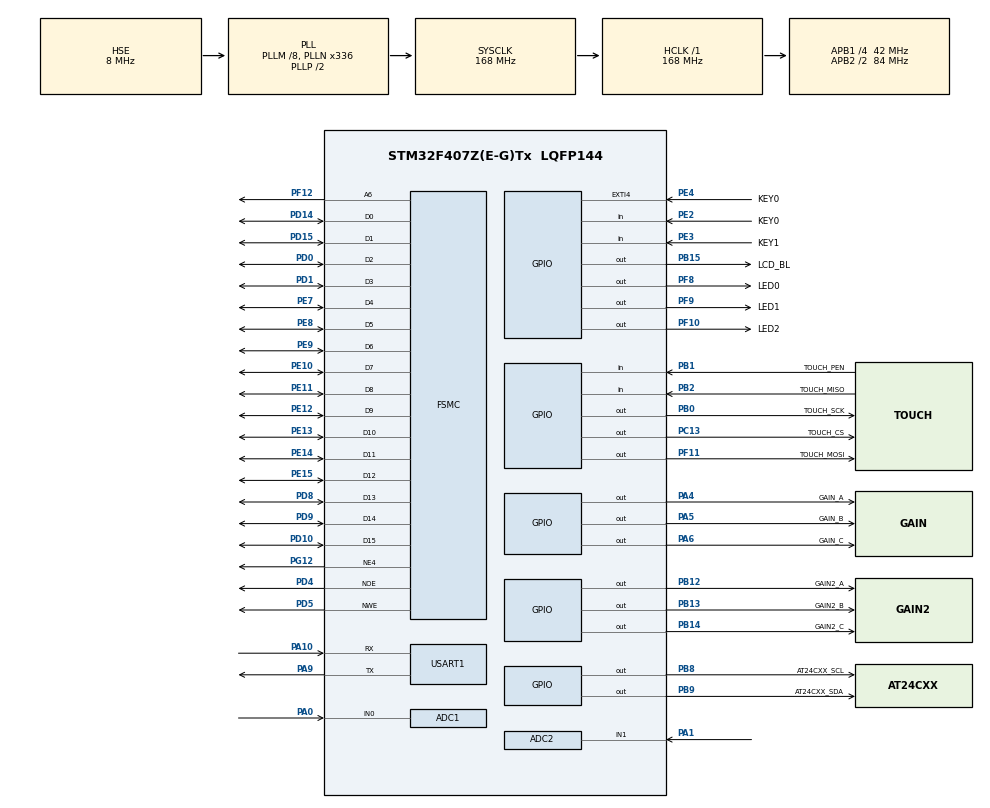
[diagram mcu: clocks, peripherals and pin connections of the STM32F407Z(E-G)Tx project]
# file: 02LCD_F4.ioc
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ADC1.Channel-0\#ChannelRegularConversion=ADC_CHANNEL_0
ADC1.ClockPrescaler=ADC_CLOCK_SYNC_PCLK_DIV6
ADC1.DMAContinuousRequests=ENABLE
ADC1.ExternalTrigConv=ADC_EXTERNALTRIGCONV_T8_TRGO
ADC1.Mode=ADC_DUALMODE_REGSIMULT
ADC1.NbrOfConversionFlag=1
ADC1.Rank-0\#ChannelRegularConversion=1
ADC1.SamplingTime-0\#ChannelRegularConversion=ADC_SAMPLETIME_15CYCLES
ADC1.ScanConvMode=ENABLE
ADC1.master=1
ADC2.Channel-0\#ChannelRegularConversion=ADC_CHANNEL_1
ADC2.ClockPrescaler=ADC_CLOCK_SYNC_PCLK_DIV6
ADC2.DMAAccessMode=ADC_DMAACCESSMODE_2
ADC2.Mode=ADC_DUALMODE_REGSIMULT
ADC2.NbrOfConversionFlag=1
ADC2.Rank-0\#ChannelRegularConversion=1
ADC2.SamplingTime-0\#ChannelRegularConversion=ADC_SAMPLETIME_15CYCLES
ADC2.ScanConvMode=ENABLE
Dma.ADC1.0.Direction=DMA_PERIPH_TO_MEMORY
Dma.ADC1.0.FIFOMode=DMA_FIFOMODE_DISABLE
Dma.ADC1.0.Instance=DMA2_Stream0
Dma.ADC1.0.MemDataAlignment=DMA_MDATAALIGN_WORD
Dma.ADC1.0.MemInc=DMA_MINC_ENABLE
Dma.ADC1.0.Mode=DMA_CIRCULAR
Dma.ADC1.0.PeriphDataAlignment=DMA_PDATAALIGN_WORD
Dma.ADC1.0.PeriphInc=DMA_PINC_DISABLE
Dma.ADC1.0.Priority=DMA_PRIORITY_HIGH
Dma.Request0=ADC1
FSMC.AddressSetupTime1=0x0f
FSMC.BusTurnAroundDuration1=0
FSMC.DataSetupTime1=24
FSMC.ExtendedAddressSetupTime1=9
FSMC.ExtendedBusTurnAroundDuration1=0
FSMC.ExtendedDataSetupTime1=8
FSMC.ExtendedMode1=FSMC_EXTENDED_MODE_ENABLE
Mcu.Family=STM32F4
Mcu.Name=STM32F407Z(E-G)Tx
Mcu.Package=LQFP144
NVIC.DMA2_Stream0_IRQn=true\:0\:0\:false\:false\:true\:false\:true\:true
NVIC.EXTI4_IRQn=true\:0\:0\:false\:false\:true\:true\:true\:true
NVIC.PriorityGroup=NVIC_PRIORITYGROUP_4
PA0-WKUP.Signal=ADCx_IN0
PA1.Signal=ADCx_IN1
PA10.Mode=Asynchronous
PA10.Signal=USART1_RX
PA13.Mode=Serial_Wire
PA13.Signal=SYS_JTMS-SWDIO
PA14.Mode=Serial_Wire
PA14.Signal=SYS_JTCK-SWCLK
PA4.GPIO_Label=GAIN_A
PA4.Signal=GPIO_Output
PA5.GPIO_Label=GAIN_B
PA5.Signal=GPIO_Output
PA6.GPIO_Label=GAIN_C
PA6.Signal=GPIO_Output
PA9.Mode=Asynchronous
PA9.Signal=USART1_TX
PB0.GPIO_Label=TOUCH_SCK
PB0.GPIO_PuPd=GPIO_PULLUP
PB0.GPIO_Speed=GPIO_SPEED_FREQ_VERY_HIGH
PB0.Signal=GPIO_Output
PB1.GPIO_Label=TOUCH_PEN
PB1.GPIO_Mode=GPIO_MODE_INPUT
PB1.GPIO_PuPd=GPIO_PULLUP
PB1.Signal=GPIO_Input
PB12.GPIO_Label=GAIN2_A
PB12.Signal=GPIO_Output
PB13.GPIO_Label=GAIN2_B
PB13.Signal=GPIO_Output
PB14.GPIO_Label=GAIN2_C
PB14.Signal=GPIO_Output
PB15.GPIO_Label=LCD_BL
PB15.GPIO_PuPd=GPIO_PULLUP
PB15.GPIO_Speed=GPIO_SPEED_FREQ_MEDIUM
PB15.Signal=GPIO_Output
PB2.GPIO_Label=TOUCH_MISO
PB2.GPIO_PuPd=GPIO_PULLUP
PB2.Signal=GPIO_Input
PB8.GPIO_Label=AT24CXX_SCL
PB8.GPIO_PuPd=GPIO_PULLUP
PB8.GPIO_Speed=GPIO_SPEED_FREQ_VERY_HIGH
PB8.Signal=GPIO_Output
PB9.GPIO_Label=AT24CXX_SDA
PB9.GPIO_PuPd=GPIO_PULLUP
PB9.GPIO_Speed=GPIO_SPEED_FREQ_VERY_HIGH
PB9.Signal=GPIO_Output
PC13-ANTI_TAMP.GPIO_Label=TOUCH_CS
PC13-ANTI_TAMP.Signal=GPIO_Output
PD0.GPIO_PuPd=GPIO_PULLUP
PD0.Signal=FSMC_D2_DA2
PD1.GPIO_PuPd=GPIO_PULLUP
PD1.Signal=FSMC_D3_DA3
PD10.GPIO_PuPd=GPIO_PULLUP
PD10.Signal=FSMC_D15_DA15
PD14.GPIO_PuPd=GPIO_PULLUP
PD14.Signal=FSMC_D0_DA0
PD15.GPIO_PuPd=GPIO_PULLUP
PD15.Signal=FSMC_D1_DA1
PD4.GPIO_PuPd=GPIO_PULLUP
PD4.Signal=FSMC_NOE
PD5.GPIO_PuPd=GPIO_PULLUP
PD5.Signal=FSMC_NWE
PD8.GPIO_PuPd=GPIO_PULLUP
PD8.Signal=FSMC_D13_DA13
PD9.GPIO_PuPd=GPIO_PULLUP
PD9.Signal=FSMC_D14_DA14
PE10.GPIO_PuPd=GPIO_PULLUP
PE10.Signal=FSMC_D7_DA7
PE11.GPIO_PuPd=GPIO_PULLUP
PE11.Signal=FSMC_D8_DA8
PE12.GPIO_PuPd=GPIO_PULLUP
PE12.Signal=FSMC_D9_DA9
PE13.GPIO_PuPd=GPIO_PULLUP
PE13.Signal=FSMC_D10_DA10
PE14.GPIO_PuPd=GPIO_PULLUP
PE14.Signal=FSMC_D11_DA11
PE15.GPIO_PuPd=GPIO_PULLUP
PE15.Signal=FSMC_D12_DA12
PE2.GPIO_Label=KEY0
PE2.GPIO_PuPd=GPIO_PULLUP
PE2.Signal=GPIO_Input
PE3.GPIO_Label=KEY1
PE3.GPIO_PuPd=GPIO_PULLUP
PE3.Signal=GPIO_Input
PE4.GPIO_Label=KEY0
PE4.GPIO_ModeDefaultEXTI=GPIO_MODE_IT_FALLING
PE4.GPIO_PuPd=GPIO_PULLUP
PE4.Signal=GPXTI4
PE7.GPIO_PuPd=GPIO_PULLUP
PE7.Signal=FSMC_D4_DA4
PE8.GPIO_PuPd=GPIO_PULLUP
PE8.Signal=FSMC_D5_DA5
PE9.GPIO_PuPd=GPIO_PULLUP
PE9.Signal=FSMC_D6_DA6
PF10.GPIO_Label=LED2
PF10.GPIO_ModeDefaultOutputPP=GPIO_MODE_OUTPUT_PP
PF10.GPIO_PuPd=GPIO_PULLUP
PF10.GPIO_Speed=GPIO_SPEED_FREQ_VERY_HIGH
PF10.PinState=GPIO_PIN_SET
PF10.Signal=GPIO_Output
PF11.GPIO_Label=TOUCH_MOSI
PF11.GPIO_Speed=GPIO_SPEED_FREQ_VERY_HIGH
PF11.Signal=GPIO_Output
PF12.GPIO_PuPd=GPIO_PULLUP
PF12.Signal=FSMC_A6
PF8.GPIO_Label=LED0
PF8.GPIO_ModeDefaultOutputPP=GPIO_MODE_OUTPUT_PP
PF8.GPIO_PuPd=GPIO_PULLUP
PF8.GPIO_Speed=GPIO_SPEED_FREQ_VERY_HIGH
PF8.PinState=GPIO_PIN_SET
PF8.Signal=GPIO_Output
PF9.GPIO_Label=LED1
PF9.GPIO_ModeDefaultOutputPP=GPIO_MODE_OUTPUT_PP
PF9.GPIO_PuPd=GPIO_PULLUP
PF9.GPIO_Speed=GPIO_SPEED_FREQ_VERY_HIGH
PF9.PinState=GPIO_PIN_SET
PF9.Signal=GPIO_Output
PG12.GPIO_PuPd=GPIO_PULLUP
PG12.Mode=NorPsramChipSelect4_1
PG12.Signal=FSMC_NE4
PH0-OSC_IN.Mode=HSE-External-Oscillator
PH0-OSC_IN.Signal=RCC_OSC_IN
PH1-OSC_OUT.Mode=HSE-External-Oscillator
PH1-OSC_OUT.Signal=RCC_OSC_OUT
ProjectManager.HeapSize=0x200
ProjectManager.StackSize=0x400
ProjectManager.TargetToolchain=MDK-ARM V5.32
RCC.48MHZClocksFreq_Value=84000000
RCC.AHBFreq_Value=168000000
RCC.APB1CLKDivider=RCC_HCLK_DIV4
RCC.APB1Freq_Value=42000000
RCC.APB1TimFreq_Value=84000000
RCC.APB2CLKDivider=RCC_HCLK_DIV2
RCC.APB2Freq_Value=84000000
RCC.APB2TimFreq_Value=168000000
RCC.CortexFreq_Value=168000000
RCC.HCLKFreq_Value=168000000
RCC.HSE_VALUE=8000000
RCC.HSI_VALUE=16000000
RCC.LSE_VALUE=32768
RCC.PLLM=8
RCC.PLLN=336
RCC.PLLSourceVirtual=RCC_PLLSOURCE_HSE
RCC.SYSCLKFreq_VALUE=168000000
RCC.SYSCLKSource=RCC_SYSCLKSOURCE_PLLCLK
RCC.VCOOutputFreq_Value=336000000
SH.ADCx_IN0.0=ADC1_IN0,IN0
SH.ADCx_IN1.0=ADC2_IN1,IN1
SH.FSMC_A6.0=FSMC_A6,A6_1
SH.FSMC_D0_DA0.0=FSMC_D0,16b-d1
SH.FSMC_D10_DA10.0=FSMC_D10,16b-d1
SH.FSMC_D11_DA11.0=FSMC_D11,16b-d1
SH.FSMC_D12_DA12.0=FSMC_D12,16b-d1
SH.FSMC_D13_DA13.0=FSMC_D13,16b-d1
SH.FSMC_D14_DA14.0=FSMC_D14,16b-d1
SH.FSMC_D15_DA15.0=FSMC_D15,16b-d1
SH.FSMC_D1_DA1.0=FSMC_D1,16b-d1
SH.FSMC_D2_DA2.0=FSMC_D2,16b-d1
SH.FSMC_D3_DA3.0=FSMC_D3,16b-d1
SH.FSMC_D4_DA4.0=FSMC_D4,16b-d1
SH.FSMC_D5_DA5.0=FSMC_D5,16b-d1
SH.FSMC_D6_DA6.0=FSMC_D6,16b-d1
SH.FSMC_D7_DA7.0=FSMC_D7,16b-d1
SH.FSMC_D8_DA8.0=FSMC_D8,16b-d1
SH.FSMC_D9_DA9.0=FSMC_D9,16b-d1
SH.FSMC_NOE.0=FSMC_NOE,Lcd1
SH.FSMC_NWE.0=FSMC_NWE,Lcd1
TIM8.Period=16799
TIM8.TIM_MasterOutputTrigger=TIM_TRGO_UPDATE
USART1.VirtualMode=VM_ASYNC
VP_TIM8_VS_ClockSourceINT.Mode=Internal
board=custom

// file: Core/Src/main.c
/* USER CODE BEGIN Header */
/**
  ******************************************************************************
  * @file           : main.c
  * @brief          : Main program body
  ******************************************************************************
  */
/* USER CODE END Header */
#include "main.h"
#include "adc.h"
#include "dma.h"
#include "tim.h"
#include "usart.h"
#include "gpio.h"

/* USER CODE BEGIN Includes */
#include <stdio.h>
#include <string.h>
#include <math.h>
/* 大彩串口屏 HMI 驱动（触摸人机交互） */
#include "hmi_driver.h"
#include "hmi_user_uart.h"
#include "cmd_queue.h"
#include "cmd_process.h"
#include "hmi_text.h"
/* USER CODE END Includes */

/* USER CODE BEGIN PD */
#define ADC_BUF_SIZE   8192
#define DRAW_POINTS    400      /* 8div × 50点/div = 400，满足任务书水平分辨率要求 */
#define SAMPLE_RATE    10000.0f
#define AVG_N          5
#define MUTATION_TH    0.08f

#define MODE_TRIG      0
#define MODE_VERT      1
#define MODE_HORI      2
#define MODE_CH_SEL    3   /* ������ͨ��ѡ��ģʽ */
/* USER CODE END PD */

/* USER CODE BEGIN PV */
uint32_t adc_dma_buf[ADC_BUF_SIZE];
extern DMA_HandleTypeDef hdma_adc1;

volatile uint8_t dma_ready = 0;
volatile uint8_t key0_pressed = 0;

float ch1_v[ADC_BUF_SIZE];
float ch2_v[ADC_BUF_SIZE];

float freq_buf1[AVG_N], freq_buf2[AVG_N];
float vpp_buf1[AVG_N],  vpp_buf2[AVG_N];
float avg_buf1[AVG_N],  avg_buf2[AVG_N];
uint8_t avg_idx = 0;
uint8_t avg_cnt = 0;

float last_f1_displayed = 0;
float last_f2_displayed = 0;

float   trig_level_ratio = 0.5f;
uint8_t trig_edge = 0;

const float v_div_table[3] = {0.01f, 0.1f, 1.0f};
uint8_t v_div_idx1 = 1;  // CH1 ������λ
uint8_t v_div_idx2 = 1;  // CH2 ������λ

const float t_div_table[3] = {0.001f, 0.01f, 0.1f};
uint8_t t_div_idx = 0;

float last_vpp1 = 0, last_f1 = 0;
float last_vpp2 = 0, last_f2 = 0;

uint8_t current_mode = MODE_TRIG;
uint8_t trig_state = 0;

uint8_t active_ch = 1; // ��ǰ����ͨ����1=CH1, 2=CH2

float last_phase = 0;
uint8_t phase_init = 0;

	//PA4 9 A PA5 10 B  PA6 11 C
	//PB12 9 A PB13 10 B  PB14 11 C
/* ===== 模拟前端参数 =====
 * ADC 参考电压（VDDA）：所有电压换算都以它为基准
 * 前端直流偏置：ADC 收到的是「信号 + 偏置」，必须减掉才是真实电压
 *   +5V--10k--+--10k--GND  -> 2.5V     （当前电路图）
 *   +5V--20k--+--10k--GND  -> 1.667V   （推荐：留给正半周的余量更大）
 * 注意：偏置越靠近 3.3V，正半周可用摆幅越小；2.5V 时只剩 0.8V 余量 */
#define ADC_VREF      3.3f
#define ADC_BIAS_V    2.5f

/* 增益标定表 [通道][档位]，通道 0=CH1 1=CH2，档位 0=10mV/div 1=100mV/div 2=1V/div
 * 理论值 40 / 4 / 1（Rf = 390k / 30k / 0 欧，Rg = 10k）
 * CD4051 导通电阻串在反馈回路里，×1 档实际增益会偏大 2%~4%，务必实测后填这里
 * 标定方法：输入已知峰峰值的正弦（如 1kHz、1.000Vpp），切到该档位读屏上「峰峰值」Vmeas，
 *           则 新值 = 当前值 × Vmeas / Vtrue */
const float gain_cal[2][3] = {
    {40.0f, 4.0f, 1.0f},   /* CH1 */
    {40.0f, 4.0f, 1.0f},   /* CH2 */
};

/* ===== 串口屏 HMI =====
 * 屏端画面/控件 ID 约定（以 VisualTFT 工程 Screen0.tft 为准）：
 *   画面 0：主界面
 *   曲线控件：GRAPH1(ID=1) 单控件双通道
 *             通道0 = CH1 波形（黄），通道1 = CH2 波形（品红）
 *             采样点数 400、采样深度 2 Bytes、显示范围 0~32767
 *   文本控件：3=CH1频率 4=CH1峰峰值 5=CH1平均值
 *             6=CH2频率 7=CH2峰峰值 8=CH2平均值
 *             9=相位差 10=波形类型 11=模式/通道 12=档位/边沿
 *   按钮控件：13=模式切换 14=通道选择 15=CH1档位+ 16=CH1档位-
 *             17=CH2档位+ 18=CH2档位- 19=时基+ 20=时基-
 *             21=触发边沿 22=触发电平+ 23=触发电平- 24=AUTOSCALE
 */
#define HMI_SCREEN      0
#define HMI_GRAPH       1   /* 唯一的曲线控件 ID */
#define HMI_GRAPH_CH1   0   /* 曲线控件内的通道号：CH1 */
#define HMI_GRAPH_CH2   1   /* 曲线控件内的通道号：CH2 */
#define HMI_TXT_F1      3
#define HMI_TXT_VPP1    4
#define HMI_TXT_AVG1    5
#define HMI_TXT_F2      6
#define HMI_TXT_VPP2    7
#define HMI_TXT_AVG2    8
#define HMI_TXT_PHASE   9
#define HMI_TXT_WAVE    10
#define HMI_TXT_MODE    11
#define HMI_TXT_DIV     12

uint8_t cmd_buffer[CMD_MAX_SIZE];              /* 串口屏指令接收缓存 */
uint8_t hmi_wave_buf[DRAW_POINTS * 2];         /* 曲线数据缓存（16bit，高字节在前，共 480 字节） */
/* USER CODE END PV */

void SystemClock_Config(void);

/* USER CODE BEGIN 0 */

int fputc(int ch, FILE *f)
{
    HAL_UART_Transmit(&huart1, (uint8_t *)&ch, 1, 0xFFFF);
    return ch;
}

/* �л� CD4051 ����ͨ����ch=1��2, gain_idx=0,1,2 */
/* �л� CD4051 ����ͨ����ch=1��2, gain_idx=0,1,2 */
void SetGain(uint8_t ch, uint8_t gain_idx)
{
    if (ch == 1) // CH1 ���� PA4(A), PA5(B), PA6(C)
    {
        if (gain_idx == 0) // 10mV����8����ͨ��0 (A=0, B=0, C=0)
        {
            HAL_GPIO_WritePin(GPIOA, GPIO_PIN_4, GPIO_PIN_RESET);
            HAL_GPIO_WritePin(GPIOA, GPIO_PIN_5, GPIO_PIN_RESET);
            HAL_GPIO_WritePin(GPIOA, GPIO_PIN_6, GPIO_PIN_RESET);
        }
        else if (gain_idx == 1) // 100mV����4����ͨ��1 (A=0, B=0, C=1)
        {
            HAL_GPIO_WritePin(GPIOA, GPIO_PIN_4, GPIO_PIN_RESET);
            HAL_GPIO_WritePin(GPIOA, GPIO_PIN_5, GPIO_PIN_RESET);
            HAL_GPIO_WritePin(GPIOA, GPIO_PIN_6, GPIO_PIN_SET);
        }
        else // 1V����1����ͨ��2 (A=0, B=1, C=0)
        {
            HAL_GPIO_WritePin(GPIOA, GPIO_PIN_4, GPIO_PIN_RESET);
            HAL_GPIO_WritePin(GPIOA, GPIO_PIN_5, GPIO_PIN_SET);
            HAL_GPIO_WritePin(GPIOA, GPIO_PIN_6, GPIO_PIN_RESET);
        }
    }
    else if (ch == 2) // CH2 ���� PB12(A), PB13(B), PB14(C)
    {
        if (gain_idx == 0) // 10mV����8����ͨ��0
        {
            HAL_GPIO_WritePin(GPIOB, GPIO_PIN_12, GPIO_PIN_RESET);
            HAL_GPIO_WritePin(GPIOB, GPIO_PIN_13, GPIO_PIN_RESET);
            HAL_GPIO_WritePin(GPIOB, GPIO_PIN_14, GPIO_PIN_RESET);
        }
        else if (gain_idx == 1) // 100mV����4����ͨ��1 (C=1)
        {
            HAL_GPIO_WritePin(GPIOB, GPIO_PIN_12, GPIO_PIN_RESET);
            HAL_GPIO_WritePin(GPIOB, GPIO_PIN_13, GPIO_PIN_RESET);
            HAL_GPIO_WritePin(GPIOB, GPIO_PIN_14, GPIO_PIN_SET);
        }
        else // 1V����1����ͨ��2 (B=1)
        {
            HAL_GPIO_WritePin(GPIOB, GPIO_PIN_12, GPIO_PIN_RESET);
            HAL_GPIO_WritePin(GPIOB, GPIO_PIN_13, GPIO_PIN_SET);
            HAL_GPIO_WritePin(GPIOB, GPIO_PIN_14, GPIO_PIN_RESET);
        }
    }
}

uint16_t FindTrigger(float *data, float max, float min, float ratio, uint8_t edge)
{
    int i;
    float level = min + (max - min) * ratio;
    for(i = 1; i < ADC_BUF_SIZE; i++)
    {
        if(edge == 0) { if(data[i-1] < level && data[i] >= level) return i; }
        else { if(data[i-1] > level && data[i] <= level) return i; }
    }
    return 0;
}

void CalcParams(float *data, float *vpp, float *avg, float *freq)
{
    int i;
    float max = data[0], min = data[0];
    double sum = 0;

    for(i = 0; i < ADC_BUF_SIZE; i++)
    {
        if(data[i] > max) max = data[i];
        if(data[i] < min) min = data[i];
        sum += data[i];
    }
    *vpp = max - min;
    *avg = (float)(sum / ADC_BUF_SIZE);

    float mid = (max + min) / 2.0f;
    float hyst = (max - min) * 0.15f;
    float up_th = mid + hyst;
    float dn_th = mid - hyst;

    uint16_t edges[128];
    int edge_cnt = 0;
    uint8_t state = 0;

    for(i = 0; i < ADC_BUF_SIZE; i++)
    {
        if(state == 0 && data[i] > up_th) { if(edge_cnt < 128) edges[edge_cnt++] = (uint16_t)i; state = 1; }
        else if(state == 1 && data[i] < dn_th) { state = 0; }
    }

    if(edge_cnt >= 2)
    {
        float avg_period = (float)(edges[edge_cnt - 1] - edges[0]) / (edge_cnt - 1);
        *freq = SAMPLE_RATE / avg_period;
    }
    else *freq = 0;
}

float FindFirstRisingEdgeInterp(float *data, float max, float min)
{
    float level = (max + min) / 2.0f;
    int i;
    for(i = 1; i < ADC_BUF_SIZE; i++)
    {
        if(data[i-1] < level && data[i] >= level)
        {
            float d1 = level - data[i-1];
            float d2 = data[i] - data[i-1];
            if(d2 > 0.0001f) return (float)(i - 1) + d1 / d2;
            return (float)i;
        }
    }
    return -1.0f;
}

float CalcPhaseDiff(float *ch1, float *ch2, float max1, float min1, float max2, float min2, float freq)
{
    float e1 = FindFirstRisingEdgeInterp(ch1, max1, min1);
    float e2 = FindFirstRisingEdgeInterp(ch2, max2, min2);
    if(e1 < 0 || e2 < 0) return -999.0f;

    float diff = e1 - e2;
    if(diff >  ADC_BUF_SIZE / 2.0f) diff -= ADC_BUF_SIZE;
    if(diff < -ADC_BUF_SIZE / 2.0f) diff += ADC_BUF_SIZE;

    float dt = diff / SAMPLE_RATE;
    float phase = dt * freq * 360.0f;
    while(phase >  180.0f) phase -= 360.0f;
    while(phase < -180.0f) phase += 360.0f;
    return phase;
}

float CalcHighRatio(float *data, float max, float min)
{
    float high_th = (max + min) / 2.0f + (max - min) * 0.4f;
    int high_cnt = 0;
    for(int i = 0; i < ADC_BUF_SIZE; i++) { if(data[i] > high_th) high_cnt++; }
    return (float)high_cnt / ADC_BUF_SIZE;
}

/* 波形识别：用「峰均比（crest factor）」区分，比高电平占比法可靠得多
 *   峰均比 = 峰值 / 有效值(交流)
 *   方波   ≈ 1.00     （峰值=有效值）
 *   正弦波 ≈ 1.414    （峰值 = 有效值 × √2）
 *   三角波 ≈ 1.732    （峰值 = 有效值 × √3）
 * 阈值取两两中间值：方波/正弦 1.20，正弦/三角 1.58 */
static const char* IdentifyWave(float *data, float max, float min)
{
    int i;
    double sum = 0.0, sq = 0.0;
    float  avg, rms, peak, crest;

    for(i = 0; i < ADC_BUF_SIZE; i++) sum += data[i];
    avg = (float)(sum / ADC_BUF_SIZE);

    for(i = 0; i < ADC_BUF_SIZE; i++)
    {
        double d = (double)data[i] - (double)avg;
        sq += d * d;
    }
    rms = (float)sqrt(sq / ADC_BUF_SIZE);

    if(rms < 1e-5f) return HT_NONE;                  /* 无信号 */

    peak  = (max - min) * 0.5f;
    crest = peak / rms;

    if(crest < 1.20f) return HT_SQUARE;              /* 方波 */
    if(crest < 1.58f) return HT_SINE;                /* 正弦波 */
    return HT_TRI;                                   /* 三角波 */
}

/* AUTOSCALE：根据当前信号自动选档
 *  - 两通道使用同一垂直档位（保证波形比例一致、便于比较）
 *  - 触发电平自动置于信号中点 50%
 *  - 频率无效时保持原时基不动
 */
void AutoScaleAll(void)
{
    float vpp  = (last_vpp1 > last_vpp2) ? last_vpp1 : last_vpp2;   /* 取较大者，防止任一路超屏 */
    float freq = (last_f1 > 1.0f) ? last_f1 : last_f2;
    uint8_t idx;

    /* 垂直档位：让波形占约 4.5 格 */
    if(vpp > 0.002f)
    {
        float v_div_target = vpp / 4.5f;
        if(v_div_target <= 0.01f)     idx = 0;    /* 10mV/div  */
        else if(v_div_target <= 0.1f) idx = 1;    /* 100mV/div */
        else                          idx = 2;    /* 1V/div    */

        v_div_idx1 = idx;
        v_div_idx2 = idx;
        SetGain(1, idx);
        SetGain(2, idx);
    }

    /* 水平时基：让屏幕显示约 4 个周期 */
    if(freq >= 10.0f && freq <= 1100.0f)
    {
        float t_div_target = 4.0f / (8.0f * freq);
        if(t_div_target <= 0.001f)      t_div_idx = 0;   /* 1ms/div   */
        else if(t_div_target <= 0.01f)  t_div_idx = 1;   /* 10ms/div  */
        else                            t_div_idx = 2;   /* 100ms/div */
    }

    /* 触发电平自动置于信号中点，保证稳定触发 */
    trig_level_ratio = 0.5f;
}

void HAL_GPIO_EXTI_Callback(uint16_t GPIO_Pin)
{
    if(GPIO_Pin == KEY0E4_Pin) key0_pressed = 1;
}

/* ===================== 串口屏 HMI 触摸交互 ===================== */

/* 从源数据中取第 i 个显示点：
 *   show_len <= 240 时用线性插值（上采样，消除阶梯感）
 *   show_len >  240 时用区间平均（下采样，抑制 ADC 噪声与混叠） */
static float HMI_SampleAt(float *data, uint16_t start, int show_len, int i)
{
    if(show_len <= DRAW_POINTS)
    {
        int span = (show_len > 1) ? (show_len - 1) : 1;
        float pos = (float)i * (float)span / (float)(DRAW_POINTS - 1);
        int   k   = (int)pos;
        float fr  = pos - (float)k;
        uint16_t i1 = (uint16_t)((start + k)     % ADC_BUF_SIZE);
        uint16_t i2 = (uint16_t)((start + k + 1) % ADC_BUF_SIZE);
        return data[i1] * (1.0f - fr) + data[i2] * fr;
    }
    else
    {
        int a = (int)((float)i       * (float)show_len / (float)DRAW_POINTS);
        int b = (int)((float)(i + 1) * (float)show_len / (float)DRAW_POINTS);
        int k, n = 0;
        float sum = 0.0f;
        if(b <= a) b = a + 1;
        if(b > show_len) b = show_len;
        for(k = a; k < b; k++)
        {
            sum += data[(uint16_t)((start + k) % ADC_BUF_SIZE)];
            n++;
        }
        return (n > 0) ? (sum / (float)n) : 0.0f;
    }
}

/* 曲线数据上限（屏端「曲线顶部值」需与此一致） */
#define HMI_WAVE_MAX   32767.0f

/* 把 CH1/CH2 波形定点化后发送到串口屏曲线控件
 * 屏端配置：单控件双通道、采样深度 2 Bytes、显示范围 0~32767
 * 数据格式：每个采样点 2 字节，高字节在前
 * 减去直流偏置让波形居中，并按实际峰峰值自适应缩放，让波形铺满曲线区 */
static void HMI_UpdateWave(uint16_t trig, int show_len,
                           float avg1, float avg2, float vpp1, float vpp2)
{
    int i;
    /* 按峰峰值缩放，留 25% 边距；信号太小时给个最小量程防止噪声放大 */
    float scale1 = (vpp1 > 0.01f) ? (vpp1 * 1.25f) : 0.5f;
    float scale2 = (vpp2 > 0.01f) ? (vpp2 * 1.25f) : 0.5f;

    /* CH1 -> 曲线控件通道0 */
    GraphChannelDataClear(HMI_SCREEN, HMI_GRAPH, HMI_GRAPH_CH1);
    for(i = 0; i < DRAW_POINTS; i++)
    {
        float px = ((HMI_SampleAt(ch1_v, trig, show_len, i) - avg1) / scale1 + 0.5f) * HMI_WAVE_MAX;
        if(px < 0.0f) px = 0.0f;
        if(px > HMI_WAVE_MAX) px = HMI_WAVE_MAX;
        hmi_wave_buf[2 * i]     = (uint8_t)(((uint16_t)px) >> 8);   /* 高字节 */
        hmi_wave_buf[2 * i + 1] = (uint8_t)(((uint16_t)px) & 0xFF); /* 低字节 */
    }
    GraphChannelDataAdd(HMI_SCREEN, HMI_GRAPH, HMI_GRAPH_CH1, hmi_wave_buf, DRAW_POINTS * 2);

    /* CH2 -> 曲线控件通道1 */
    GraphChannelDataClear(HMI_SCREEN, HMI_GRAPH, HMI_GRAPH_CH2);
    for(i = 0; i < DRAW_POINTS; i++)
    {
        float px = ((HMI_SampleAt(ch2_v, trig, show_len, i) - avg2) / scale2 + 0.5f) * HMI_WAVE_MAX;
        if(px < 0.0f) px = 0.0f;
        if(px > HMI_WAVE_MAX) px = HMI_WAVE_MAX;
        hmi_wave_buf[2 * i]     = (uint8_t)(((uint16_t)px) >> 8);   /* 高字节 */
        hmi_wave_buf[2 * i + 1] = (uint8_t)(((uint16_t)px) & 0xFF); /* 低字节 */
    }
    GraphChannelDataAdd(HMI_SCREEN, HMI_GRAPH, HMI_GRAPH_CH2, hmi_wave_buf, DRAW_POINTS * 2);
}

/* 更新串口屏上的模式/通道/档位状态文本 */
static void HMI_UpdateStatus(void)
{
    char buf[64];
    const char *mode_name = HT_TRIG;
    const char *edge_name = HT_RISE;
    const char *div_name[3] = {"10mV", "100mV", "1V"};
    const char *tdiv_name[3] = {"1ms", "10ms", "100ms"};

    if(current_mode == MODE_VERT) mode_name = HT_VERT;
    else if(current_mode == MODE_HORI) mode_name = HT_HORI;
    else if(current_mode == MODE_CH_SEL) mode_name = HT_CHSEL;
    if(trig_edge == 1) edge_name = HT_FALL;

    /* 模式 + 当前通道 + 触发边沿，如「触发 通道1 上升」 */
    sprintf(buf, "%s %s %s", mode_name, (active_ch == 1) ? HT_CH1 : HT_CH2, edge_name);
    SetTextValue(HMI_SCREEN, HMI_TXT_MODE, (uchar *)buf);

    /* 垂直档位与时基：两通道同档时合并显示，避免超出控件宽度被截断
     *   同档： "100mV 1ms"
     *   不同： "100mV/1V 1ms" */
    if(v_div_idx1 == v_div_idx2)
        sprintf(buf, "%s %s", div_name[v_div_idx1], tdiv_name[t_div_idx]);
    else
        sprintf(buf, "%s/%s %s", div_name[v_div_idx1], div_name[v_div_idx2], tdiv_name[t_div_idx]);
    SetTextValue(HMI_SCREEN, HMI_TXT_DIV, (uchar *)buf);
}

/* 更新串口屏上的测量参数文本 */
static void HMI_UpdateText(float f1, float vpp1, float avg1,
                           float f2, float vpp2, float avg2,
                           float phase, const char *wave_type)
{
    char buf[64];

    sprintf(buf, HT_FREQ "%.0fHz", f1);
    SetTextValue(HMI_SCREEN, HMI_TXT_F1, (uchar *)buf);
    sprintf(buf, HT_VPP "%.3fV", vpp1);
    SetTextValue(HMI_SCREEN, HMI_TXT_VPP1, (uchar *)buf);
    sprintf(buf, HT_AVG "%.3fV", avg1);
    SetTextValue(HMI_SCREEN, HMI_TXT_AVG1, (uchar *)buf);

    sprintf(buf, HT_FREQ "%.0fHz", f2);
    SetTextValue(HMI_SCREEN, HMI_TXT_F2, (uchar *)buf);
    sprintf(buf, HT_VPP "%.3fV", vpp2);
    SetTextValue(HMI_SCREEN, HMI_TXT_VPP2, (uchar *)buf);
    sprintf(buf, HT_AVG "%.3fV", avg2);
    SetTextValue(HMI_SCREEN, HMI_TXT_AVG2, (uchar *)buf);

    if(phase > -900.0f) sprintf(buf, HT_PHASE "%+.1f", phase);
    else                sprintf(buf, HT_PHASE HT_NONE);
    SetTextValue(HMI_SCREEN, HMI_TXT_PHASE, (uchar *)buf);

    sprintf(buf, HT_WAVE "%s", wave_type);
    SetTextValue(HMI_SCREEN, HMI_TXT_WAVE, (uchar *)buf);

    HMI_UpdateStatus();
}

/* 串口屏指令处理入口（在主循环中轮询调用） */
static void HMI_Process(void)
{
    qsize size = queue_find_cmd(cmd_buffer, CMD_MAX_SIZE);
    if(size > 0)
    {
        ProcessMessage((PCTRL_MSG)cmd_buffer, size);
    }
}

/* 消息分发：把串口屏上传的指令转换为业务回调 */
void ProcessMessage(PCTRL_MSG msg, uint16 size)
{
    uint8  cmd_type     = msg->cmd_type;
    uint8  ctrl_msg     = msg->ctrl_msg;
    uint8  control_type = msg->control_type;
    uint16 screen_id    = PTR2U16(&msg->screen_id);
    uint16 control_id   = PTR2U16(&msg->control_id);

    switch(cmd_type)
    {
    case NOTIFY_TOUCH_PRESS:                                    /* 触摸按下 */
    case NOTIFY_TOUCH_RELEASE:                                  /* 触摸松开 */
        NotifyTouchXY(cmd_buffer[1], PTR2U16(cmd_buffer + 2), PTR2U16(cmd_buffer + 4));
        break;

    case NOTIFY_CONTROL:                                        /* 控件事件 */
        if(ctrl_msg == MSG_GET_CURRENT_SCREEN)                  /* 画面切换通知 */
        {
            NotifyScreen(screen_id);
        }
        else
        {
            switch(control_type)
            {
            case kCtrlButton:                                   /* 按钮 */
                NotifyButton(screen_id, control_id, msg->param[1]);
                break;
            case kCtrlText:                                     /* 文本（键盘输入回传） */
                NotifyText(screen_id, control_id, msg->param);
                break;
            default:
                break;
            }
        }
        break;

    default:
        break;
    }
}

/* 画面切换通知 */
void NotifyScreen(uint16 screen_id)
{
    /* 进入主界面时，清空两条曲线通道 */
    if(screen_id == HMI_SCREEN)
    {
        GraphChannelDataClear(HMI_SCREEN, HMI_GRAPH, HMI_GRAPH_CH1);
        GraphChannelDataClear(HMI_SCREEN, HMI_GRAPH, HMI_GRAPH_CH2);
    }
}

/* 触摸坐标事件（预留） */
void NotifyTouchXY(uint8 press, uint16 x, uint16 y)
{
}

/* 按钮控件通知：实现功能切换（与原按键逻辑一致） */
void NotifyButton(uint16 screen_id, uint16 control_id, uint8 state)
{
    if(state == 0) return;                                      /* 只响应按下 */

    switch(control_id)
    {
    case 13:                                                    /* 模式切换 */
        current_mode = (current_mode + 1) % 4;
        break;
    case 14:                                                    /* 通道选择 */
        active_ch = (active_ch == 1) ? 2 : 1;
        break;
    case 15:                                                    /* CH1 垂直档位+ */
        if(v_div_idx1 < 2) { v_div_idx1++; SetGain(1, v_div_idx1); }
        break;
    case 16:                                                    /* CH1 垂直档位- */
        if(v_div_idx1 > 0) { v_div_idx1--; SetGain(1, v_div_idx1); }
        break;
    case 17:                                                    /* CH2 垂直档位+ */
        if(v_div_idx2 < 2) { v_div_idx2++; SetGain(2, v_div_idx2); }
        break;
    case 18:                                                    /* CH2 垂直档位- */
        if(v_div_idx2 > 0) { v_div_idx2--; SetGain(2, v_div_idx2); }
        break;
    case 19:                                                    /* 水平时基+ */
        if(t_div_idx < 2) t_div_idx++;
        break;
    case 20:                                                    /* 水平时基- */
        if(t_div_idx > 0) t_div_idx--;
        break;
    case 21:                                                    /* 触发边沿切换 */
        trig_edge = (trig_edge == 0) ? 1 : 0;
        break;
    case 22:                                                    /* 触发电平+ */
        if(trig_level_ratio < 0.95f) trig_level_ratio += 0.1f;
        break;
    case 23:                                                    /* 触发电平- */
        if(trig_level_ratio > 0.05f) trig_level_ratio -= 0.1f;
        break;
    case 24:                                                    /* AUTOSCALE */
        AutoScaleAll();
        break;
    default:
        break;
    }

    HMI_UpdateStatus();                                         /* 立即刷新状态文本 */
}

/* 文本控件通知（键盘输入回传，预留） */
void NotifyText(uint16 screen_id, uint16 control_id, uint8 *str)
{
}

/* USER CODE END 0 */

int main(void)
{
  HAL_Init();
  SystemClock_Config();

  MX_GPIO_Init();
  MX_DMA_Init();
  MX_ADC1_Init();
  MX_ADC2_Init();
  MX_TIM8_Init();
  MX_USART1_UART_Init();
  /* USER CODE BEGIN 2 */

  {
      GPIO_InitTypeDef gpio_init = {0};
      gpio_init.Pin  = GPIO_PIN_4;
      gpio_init.Mode = GPIO_MODE_IT_FALLING;
      gpio_init.Pull = GPIO_PULLUP;
      HAL_GPIO_Init(GPIOE, &gpio_init);
      HAL_NVIC_SetPriority(EXTI4_IRQn, 5, 0);
      HAL_NVIC_EnableIRQ(EXTI4_IRQn);
  }

  /* ��ʼ��Ӳ������ */
  SetGain(1, v_div_idx1);
  SetGain(2, v_div_idx2);

  HAL_NVIC_SetPriority(DMA2_Stream0_IRQn, 0, 0);
  HAL_NVIC_EnableIRQ(DMA2_Stream0_IRQn);

  HAL_TIM_Base_Start(&htim8);
  __HAL_ADC_ENABLE(&hadc1);
  __HAL_ADC_ENABLE(&hadc2);

  DMA2_Stream0->CR = 0;
  DMA2->LIFCR = 0x3F;
  DMA2_Stream0->PAR  = (uint32_t)&ADC->CDR;
  DMA2_Stream0->M0AR = (uint32_t)adc_dma_buf;
  DMA2_Stream0->NDTR = ADC_BUF_SIZE;
  DMA2_Stream0->CR = (0  << 25) | (2 << 16) | (2 << 13) | (2 << 11)
                   | (1  << 10) | (0 <<  9) | (1 <<  8) | (0 <<  6)
                   | (1  <<  4) | (1 <<  0);

  ADC1->SR &= ~ADC_SR_OVR;
  ADC2->SR &= ~ADC_SR_OVR;
  ADC1->CR2 |= ADC_CR2_DMA;

  HAL_ADC_Start(&hadc1);
  HAL_ADC_Start(&hadc2);

  /* ===== 串口屏 HMI 初始化（USART1 = RXD0/TXD0） ===== */
  queue_reset();
  UartInit(115200);
  HAL_Delay(300);   /* 等待串口屏上电初始化完毕 */
  /* USER CODE END 2 */

  /* Infinite loop */
  while (1)
  {
    /* ===== 串口屏触摸指令处理 ===== */
    HMI_Process();

    /* KEY0��ѭ���л�ģʽ��4��ģʽ�� */
    if(key0_pressed)
    {
        key0_pressed = 0;
        HAL_Delay(20);
        if(HAL_GPIO_ReadPin(GPIOE, GPIO_PIN_4) == GPIO_PIN_RESET)
        {
            current_mode = (current_mode + 1) % 4;
            while(HAL_GPIO_ReadPin(GPIOE, GPIO_PIN_4) == GPIO_PIN_RESET);
        }
    }

    /* KEY1���޸ĵ�ǰģʽ��ֵ */
    {
        static uint8_t key1_last = 1;
        uint8_t key1_now = HAL_GPIO_ReadPin(GPIOE, GPIO_PIN_3);

        if(key1_last == 1 && key1_now == 0)
        {
            HAL_Delay(20);
            if(HAL_GPIO_ReadPin(GPIOE, GPIO_PIN_3) == GPIO_PIN_RESET)
            {
                if(current_mode == MODE_TRIG)
                {
                    trig_state = (trig_state + 1) % 8;
                    switch(trig_state)
                    {
                        case 0: trig_edge = 0; trig_level_ratio = 0.2f; break;
                        case 1: trig_edge = 0; trig_level_ratio = 0.4f; break;
                        case 2: trig_edge = 0; trig_level_ratio = 0.6f; break;
                        case 3: trig_edge = 0; trig_level_ratio = 0.8f; break;
                        case 4: trig_edge = 1; trig_level_ratio = 0.2f; break;
                        case 5: trig_edge = 1; trig_level_ratio = 0.4f; break;
                        case 6: trig_edge = 1; trig_level_ratio = 0.6f; break;
                        case 7: trig_edge = 1; trig_level_ratio = 0.8f; break;
                    }
                }
                else if(current_mode == MODE_VERT)
                {
                    if(active_ch == 1) { v_div_idx1 = (v_div_idx1 + 1) % 3; SetGain(1, v_div_idx1); }
                    else { v_div_idx2 = (v_div_idx2 + 1) % 3; SetGain(2, v_div_idx2); }
                }
                else if(current_mode == MODE_HORI)
                {
                    t_div_idx = (t_div_idx + 1) % 3;
                }
                else if(current_mode == MODE_CH_SEL)
                {
                    active_ch = (active_ch == 1) ? 2 : 1;
                }
                while(HAL_GPIO_ReadPin(GPIOE, GPIO_PIN_3) == GPIO_PIN_RESET);
            }
        }
        key1_last = key1_now;
    }

    /* KEY2����Ե�ǰѡ��ͨ������ AUTOSCALE */
    {
        static uint8_t key2_last = 1;
        uint8_t key2_now = HAL_GPIO_ReadPin(GPIOE, GPIO_PIN_2);

        if(key2_last == 1 && key2_now == 0)
        {
            HAL_Delay(20);
            if(HAL_GPIO_ReadPin(GPIOE, GPIO_PIN_2) == GPIO_PIN_RESET)
            {
                AutoScaleAll();
                while(HAL_GPIO_ReadPin(GPIOE, GPIO_PIN_2) == GPIO_PIN_RESET);
            }
        }
        key2_last = key2_now;
    }

    /* ����ˢ�� */
    if(dma_ready)
    {
        dma_ready = 0;

        float g_cur1 = gain_cal[0][v_div_idx1];
        float g_cur2 = gain_cal[1][v_div_idx2];

        for(int i = 0; i < ADC_BUF_SIZE; i++)
        {
            ch1_v[i] = ((adc_dma_buf[i] & 0xFFFF) / 4095.0f * ADC_VREF - ADC_BIAS_V) / g_cur1;
            ch2_v[i] = ((adc_dma_buf[i] >> 16)     / 4095.0f * ADC_VREF - ADC_BIAS_V) / g_cur2;
        }

        float max1 = ch1_v[0], min1 = ch1_v[0];
        float max2 = ch2_v[0], min2 = ch2_v[0];
        for(int i = 0; i < ADC_BUF_SIZE; i++)
        {
            if(ch1_v[i] > max1) max1 = ch1_v[i]; if(ch1_v[i] < min1) min1 = ch1_v[i];
            if(ch2_v[i] > max2) max2 = ch2_v[i]; if(ch2_v[i] < min2) min2 = ch2_v[i];
        }

        uint16_t trig = FindTrigger(ch1_v, max1, min1, trig_level_ratio, trig_edge);

        float vpp1, avg1, freq1, vpp2, avg2, freq2;
        CalcParams(ch1_v, &vpp1, &avg1, &freq1);
        CalcParams(ch2_v, &vpp2, &avg2, &freq2);

        last_vpp1 = vpp1; last_f1 = freq1;
        last_vpp2 = vpp2; last_f2 = freq2;

        /* ====== �����ָ��Ļ���ƽ���˲� ====== */
        uint8_t mutated1 = 0, mutated2 = 0;
        if(last_f1_displayed > 0 && freq1 > 0)
        {
            float delta = freq1 - last_f1_displayed;
            if(delta < 0) delta = -delta;
            if(delta / last_f1_displayed > MUTATION_TH) mutated1 = 1;
        }
        if(last_f2_displayed > 0 && freq2 > 0)
        {
            float delta = freq2 - last_f2_displayed;
            if(delta < 0) delta = -delta;
            if(delta / last_f2_displayed > MUTATION_TH) mutated2 = 1;
        }

        float f1_avg, f2_avg, v1_avg, v2_avg, a1_avg, a2_avg;

        if(mutated1 || mutated2)
        {
            for(int i = 0; i < AVG_N; i++)
            {
                freq_buf1[i] = freq1; freq_buf2[i] = freq2;
                vpp_buf1[i]  = vpp1;  vpp_buf2[i]  = vpp2;
                avg_buf1[i]  = avg1;  avg_buf2[i]  = avg2;
            }
            avg_idx = 1;
            avg_cnt = AVG_N;

            f1_avg = freq1; f2_avg = freq2;
            v1_avg = vpp1;  v2_avg = vpp2;
            a1_avg = avg1;  a2_avg = avg2;

        }
        else
        {
            freq_buf1[avg_idx] = freq1; freq_buf2[avg_idx] = freq2;
            vpp_buf1[avg_idx]  = vpp1;  vpp_buf2[avg_idx]  = vpp2;
            avg_buf1[avg_idx]  = avg1;  avg_buf2[avg_idx]  = avg2;
            avg_idx = (avg_idx + 1) % AVG_N;
            if(avg_cnt < AVG_N) avg_cnt++;

            float fs1=0, fs2=0, vs1=0, vs2=0, as1=0, as2=0;
            for(int i = 0; i < avg_cnt; i++)
            {
                fs1 += freq_buf1[i]; fs2 += freq_buf2[i];
                vs1 += vpp_buf1[i];  vs2 += vpp_buf2[i];
                as1 += avg_buf1[i];  as2 += avg_buf2[i];
            }
            f1_avg = fs1 / avg_cnt; f2_avg = fs2 / avg_cnt;
            v1_avg = vs1 / avg_cnt; v2_avg = vs2 / avg_cnt;
            a1_avg = as1 / avg_cnt; a2_avg = as2 / avg_cnt;
        }
        last_f1_displayed = f1_avg;
        last_f2_displayed = f2_avg;
        /* 前端偏置已在 ADC 换算时扣除，这里只需保证峰峰值非负 */
        if (v1_avg < 0.0f) v1_avg = 0.0f;
        if (v2_avg < 0.0f) v2_avg = 0.0f;

        int show_len = (int)(8.0f * t_div_table[t_div_idx] * SAMPLE_RATE);

        float phase = CalcPhaseDiff(ch1_v, ch2_v, max1, min1, max2, min2, f1_avg);
        if(phase > -900.0f)
        {
            if(!phase_init) { last_phase = phase; phase_init = 1; }
            else {
                float diff = phase - last_phase;
                while(diff >  180.0f) diff -= 360.0f;
                while(diff < -180.0f) diff += 360.0f;
                if(fabsf(diff) > 8.0f) last_phase = phase;
                else last_phase = last_phase * 0.6f + phase * 0.4f;
            }
        }

        const char *wave_type = IdentifyWave(ch1_v, max1, min1);

        /* ===== 推送到串口屏：波形曲线 + 测量参数 ===== */
        HMI_UpdateWave(trig, show_len, a1_avg, a2_avg, v1_avg, v2_avg);
        HMI_UpdateText(f1_avg, v1_avg, a1_avg, f2_avg, v2_avg, a2_avg, last_phase, wave_type);
    }
  }
}

void SystemClock_Config(void)
{
  RCC_OscInitTypeDef RCC_OscInitStruct = {0};
  RCC_ClkInitTypeDef RCC_ClkInitStruct = {0};

  __HAL_RCC_PWR_CLK_ENABLE();
  __HAL_PWR_VOLTAGESCALING_CONFIG(PWR_REGULATOR_VOLTAGE_SCALE1);

  RCC_OscInitStruct.OscillatorType = RCC_OSCILLATORTYPE_HSE;
  RCC_OscInitStruct.HSEState = RCC_HSE_ON;
  RCC_OscInitStruct.PLL.PLLState = RCC_PLL_ON;
  RCC_OscInitStruct.PLL.PLLSource = RCC_PLLSOURCE_HSE;
  RCC_OscInitStruct.PLL.PLLM = 8;
  RCC_OscInitStruct.PLL.PLLN = 336;
  RCC_OscInitStruct.PLL.PLLP = RCC_PLLP_DIV2;
  RCC_OscInitStruct.PLL.PLLQ = 4;
  if (HAL_RCC_OscConfig(&RCC_OscInitStruct) != HAL_OK)
  {
    Error_Handler();
  }

  RCC_ClkInitStruct.ClockType = RCC_CLOCKTYPE_HCLK|RCC_CLOCKTYPE_SYSCLK
                              |RCC_CLOCKTYPE_PCLK1|RCC_CLOCKTYPE_PCLK2;
  RCC_ClkInitStruct.SYSCLKSource = RCC_SYSCLKSOURCE_PLLCLK;
  RCC_ClkInitStruct.AHBCLKDivider = RCC_SYSCLK_DIV1;
  RCC_ClkInitStruct.APB1CLKDivider = RCC_HCLK_DIV4;
  RCC_ClkInitStruct.APB2CLKDivider = RCC_HCLK_DIV2;

  if (HAL_RCC_ClockConfig(&RCC_ClkInitStruct, FLASH_LATENCY_5) != HAL_OK)
  {
    Error_Handler();
  }
}

void Error_Handler(void)
{
  __disable_irq();
  while (1)
  {
  }
}
